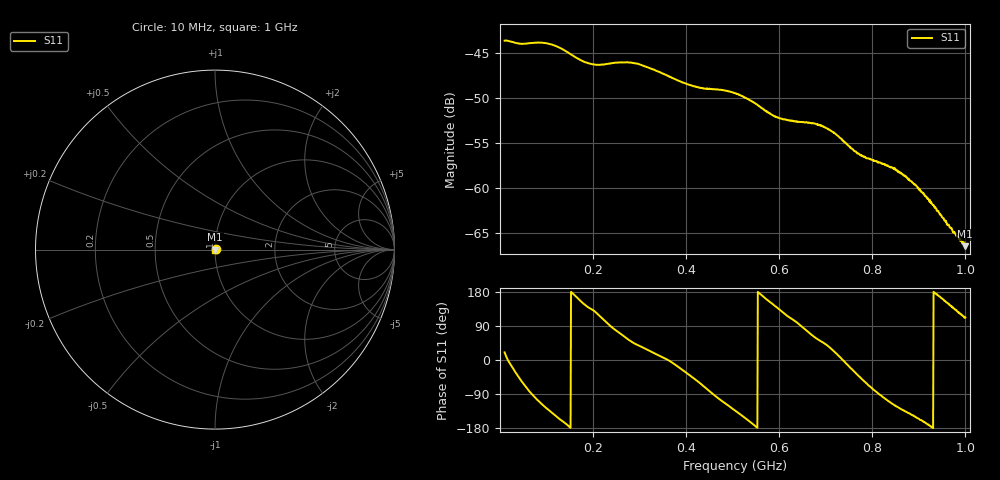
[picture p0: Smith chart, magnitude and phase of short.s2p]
! PocketVna 1.57  pocketvna.com
! Live measurements ((Reflection-S11) Linear 10000000-1000000000/1000 non-calibrated)
# Hz S RI R 50
! Hz  ReS11  ImS11  ReS21  ImS21  ReS12  ImS12  ReS22  ImS22
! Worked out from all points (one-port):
!   1000 points, 10 MHz to 1 GHz, reference 50 ohm
!   lowest |S11| = -66.4 dB at 999 MHz (marker M1), VSWR 1.00, Z = 50 + j0.0438 ohm
!   |S11| at or under -10 dB: start of sweep to end of sweep
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1e7  0.00614 0.00226  0 0  0 0  0 0
4.567568e7  0.00362 -0.00515  0 0  0 0  0 0
1.071171e8  -0.00438 -0.00447  0 0  0 0  0 0
1.299099e8  -0.00551 -0.00228  0 0  0 0  0 0
1.754955e8  -0.00452 0.00231  0 0  0 0  0 0
2.091892e8  -0.00256 0.00408  0 0  0 0  0 0
2.845045e8  0.00338 0.0036  0 0  0 0  0 0
3.40991e8  0.0043 0.00093  0 0  0 0  0 0
4.172973e8  0.0024 -0.00277  0 0  0 0  0 0
5.054955e8  -0.00231 -0.00242  0 0  0 0  0 0
5.391892e8  -0.00294 -0.0008  0 0  0 0  0 0
5.976577e8  -0.00177 0.0017  0 0  0 0  0 0
6.70991e8  0.000959 0.00208  0 0  0 0  0 0
7.126126e8  0.00182 0.000984  0 0  0 0  0 0
7.710811e8  0.00114 -0.00105  0 0  0 0  0 0
8.354955e8  -0.000435 -0.00124  0 0  0 0  0 0
8.642342e8  -0.00079 -0.0009  0 0  0 0  0 0
8.969369e8  -0.000899 -0.000454  0 0  0 0  0 0
9.316216e8  -0.000806 2.53e-07  0 0  0 0  0 0
9.772072e8  -0.000387 0.000406  0 0  0 0  0 0
9.99009e8  -0.000188 0.000438  0 0  0 0  0 0
1e9  -0.000181 0.000447  0 0  0 0  0 0
